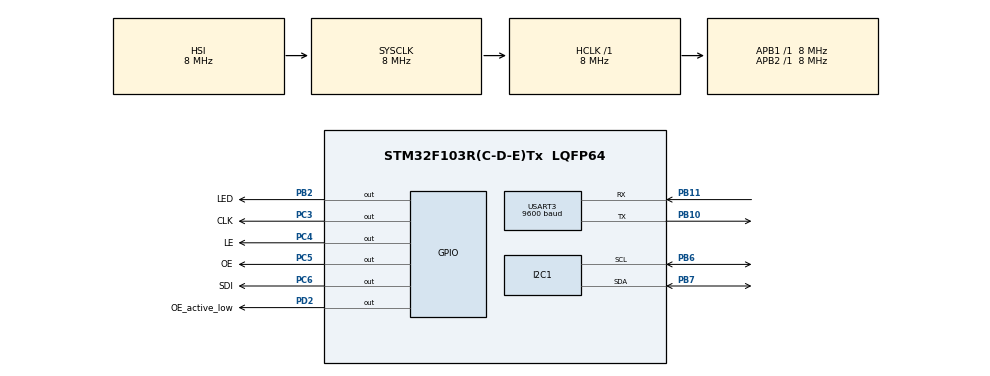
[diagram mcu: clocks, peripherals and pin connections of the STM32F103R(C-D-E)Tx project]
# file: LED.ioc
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Mcu.Family=STM32F1
Mcu.Name=STM32F103R(C-D-E)Tx
Mcu.Package=LQFP64
NVIC.PriorityGroup=NVIC_PRIORITYGROUP_4
NVIC.TIM2_IRQn=true\:0\:0\:false\:false\:true\:true\:true
NVIC.USART3_IRQn=true\:0\:0\:false\:false\:true\:true\:true
PA13.Mode=Serial_Wire
PA13.Signal=SYS_JTMS-SWDIO
PA14.Mode=Serial_Wire
PA14.Signal=SYS_JTCK-SWCLK
PB10.Mode=Asynchronous
PB10.Signal=USART3_TX
PB11.Mode=Asynchronous
PB11.Signal=USART3_RX
PB2.GPIO_Label=LED
PB2.Signal=GPIO_Output
PB6.Mode=I2C
PB6.Signal=I2C1_SCL
PB7.Mode=I2C
PB7.Signal=I2C1_SDA
PC3.GPIO_Label=CLK
PC3.Signal=GPIO_Output
PC4.GPIO_Label=LE
PC4.Signal=GPIO_Output
PC5.GPIO_Label=OE
PC5.Signal=GPIO_Output
PC6.GPIO_Label=SDI
PC6.Signal=GPIO_Output
PD2.GPIO_Label=OE_active_low
PD2.Signal=GPIO_Output
ProjectManager.HeapSize=0x200
ProjectManager.StackSize=0x400
ProjectManager.TargetToolchain=STM32CubeIDE
RCC.AHBFreq_Value=8000000
RCC.APB1Freq_Value=8000000
RCC.APB1TimFreq_Value=8000000
RCC.APB2Freq_Value=8000000
RCC.APB2TimFreq_Value=8000000
RCC.HCLKFreq_Value=8000000
RCC.SYSCLKFreq_VALUE=8000000
RCC.USBFreq_Value=8000000
TIM2.Period=9
TIM2.Prescaler=7999
USART3.BaudRate=9600
USART3.VirtualMode=VM_ASYNC
VP_TIM2_VS_ClockSourceINT.Mode=Internal
board=custom

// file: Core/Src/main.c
/* USER CODE BEGIN Header */
/**
  ******************************************************************************
  * @file           : main.c
  * @brief          : Main program body
  ******************************************************************************
  * @attention
  *
  * <h2><center>&copy; Copyright (c) 2022 STMicroelectronics.
  * All rights reserved.</center></h2>
  *
  * This software component is licensed by ST under BSD 3-Clause license,
  * the "License"; You may not use this file except in compliance with the
  * License. You may obtain a copy of the License at:
  *                        opensource.org/licenses/BSD-3-Clause
  *
  ******************************************************************************
  */
/* USER CODE END Header */
#include "main.h"

/* USER CODE BEGIN Includes */
#include "stdio.h"
#include "string.h"
#include "app_i2c.h"
#include "app_i2c_lcd.h"
#include "FSM_UART.h"
#include "PINS_AND_PORTS.h"
#include "LED_SERIES_PROCESSING.h"
#include "A_SINGLE_LED_DEBUGGING.h"
/* USER CODE END Includes */

I2C_HandleTypeDef hi2c1;

TIM_HandleTypeDef htim2;

UART_HandleTypeDef huart3;

void SystemClock_Config(void);
static void MX_TIM2_Init(void);
static void MX_GPIO_Init(void);
static void MX_I2C1_Init(void);
static void MX_USART3_UART_Init(void);

/* USER CODE BEGIN 0 */
void HAL_UART_RxCpltCallback(UART_HandleTypeDef *huart)
{
	if(huart->Instance == USART3)
	{
		HAL_UART_Transmit(&huart3, data, 1, 200);
		HAL_UART_Receive_IT(&huart3, data, 1);
	}
}
/* USER CODE END 0 */

int main(void)
{

  /* MCU Configuration--------------------------------------------------------*/

  /* Reset of all peripherals, Initializes the Flash interface and the Systick. */
  HAL_Init();

  /* USER CODE BEGIN Init */
  I2C_Init();
  Lcd_Initialization();
  /* USER CODE END Init */

  /* Configure the system clock */
  SystemClock_Config();

  /* Initialize all configured peripherals */
  MX_TIM2_Init();
  MX_GPIO_Init();
  MX_I2C1_Init();
  MX_USART3_UART_Init();
  /* USER CODE BEGIN 2 */

  HAL_GPIO_WritePin(LED_GPIO_Port, LED_PIN, SET);
  Output_Enable();
  turnOffAllLED();
  HAL_UART_Receive_IT(&huart3, data, sizeof(data));
  HAL_TIM_Base_Start_IT(&htim2);

  /* USER CODE END 2 */
  /* Infinite loop */
  /* USER CODE BEGIN WHILE */
  while (1)
  {
	  fsm_communication();
    /* USER CODE END WHILE */
  }
}

void SystemClock_Config(void)
{
  RCC_OscInitTypeDef RCC_OscInitStruct = {0};
  RCC_ClkInitTypeDef RCC_ClkInitStruct = {0};

  /** Initializes the RCC Oscillators according to the specified parameters
  * in the RCC_OscInitTypeDef structure.
  */
  RCC_OscInitStruct.OscillatorType = RCC_OSCILLATORTYPE_HSI;
  RCC_OscInitStruct.HSIState = RCC_HSI_ON;
  RCC_OscInitStruct.HSICalibrationValue = RCC_HSICALIBRATION_DEFAULT;
  RCC_OscInitStruct.PLL.PLLState = RCC_PLL_NONE;
  if (HAL_RCC_OscConfig(&RCC_OscInitStruct) != HAL_OK)
  {
    Error_Handler();
  }
  /** Initializes the CPU, AHB and APB buses clocks
  */
  RCC_ClkInitStruct.ClockType = RCC_CLOCKTYPE_HCLK|RCC_CLOCKTYPE_SYSCLK
                              |RCC_CLOCKTYPE_PCLK1|RCC_CLOCKTYPE_PCLK2;
  RCC_ClkInitStruct.SYSCLKSource = RCC_SYSCLKSOURCE_HSI;
  RCC_ClkInitStruct.AHBCLKDivider = RCC_SYSCLK_DIV1;
  RCC_ClkInitStruct.APB1CLKDivider = RCC_HCLK_DIV1;
  RCC_ClkInitStruct.APB2CLKDivider = RCC_HCLK_DIV1;

  if (HAL_RCC_ClockConfig(&RCC_ClkInitStruct, FLASH_LATENCY_0) != HAL_OK)
  {
    Error_Handler();
  }
}

static void MX_I2C1_Init(void)
{

  hi2c1.Instance = I2C1;
  hi2c1.Init.ClockSpeed = 100000;
  hi2c1.Init.DutyCycle = I2C_DUTYCYCLE_2;
  hi2c1.Init.OwnAddress1 = 0;
  hi2c1.Init.AddressingMode = I2C_ADDRESSINGMODE_7BIT;
  hi2c1.Init.DualAddressMode = I2C_DUALADDRESS_DISABLE;
  hi2c1.Init.OwnAddress2 = 0;
  hi2c1.Init.GeneralCallMode = I2C_GENERALCALL_DISABLE;
  hi2c1.Init.NoStretchMode = I2C_NOSTRETCH_DISABLE;
  if (HAL_I2C_Init(&hi2c1) != HAL_OK)
  {
    Error_Handler();
  }

}

static void MX_TIM2_Init(void)
{

  TIM_ClockConfigTypeDef sClockSourceConfig = {0};
  TIM_MasterConfigTypeDef sMasterConfig = {0};

  htim2.Instance = TIM2;
  htim2.Init.Prescaler = 7999;
  htim2.Init.CounterMode = TIM_COUNTERMODE_UP;
  htim2.Init.Period = 9;
  htim2.Init.ClockDivision = TIM_CLOCKDIVISION_DIV1;
  htim2.Init.AutoReloadPreload = TIM_AUTORELOAD_PRELOAD_DISABLE;
  if (HAL_TIM_Base_Init(&htim2) != HAL_OK)
  {
    Error_Handler();
  }
  sClockSourceConfig.ClockSource = TIM_CLOCKSOURCE_INTERNAL;
  if (HAL_TIM_ConfigClockSource(&htim2, &sClockSourceConfig) != HAL_OK)
  {
    Error_Handler();
  }
  sMasterConfig.MasterOutputTrigger = TIM_TRGO_RESET;
  sMasterConfig.MasterSlaveMode = TIM_MASTERSLAVEMODE_DISABLE;
  if (HAL_TIMEx_MasterConfigSynchronization(&htim2, &sMasterConfig) != HAL_OK)
  {
    Error_Handler();
  }

}

static void MX_USART3_UART_Init(void)
{

  huart3.Instance = USART3;
  huart3.Init.BaudRate = 9600;
  huart3.Init.WordLength = UART_WORDLENGTH_8B;
  huart3.Init.StopBits = UART_STOPBITS_1;
  huart3.Init.Parity = UART_PARITY_NONE;
  huart3.Init.Mode = UART_MODE_TX_RX;
  huart3.Init.HwFlowCtl = UART_HWCONTROL_NONE;
  huart3.Init.OverSampling = UART_OVERSAMPLING_16;
  if (HAL_UART_Init(&huart3) != HAL_OK)
  {
    Error_Handler();
  }

}

static void MX_GPIO_Init(void)
{
  GPIO_InitTypeDef GPIO_InitStruct = {0};

  /* GPIO Ports Clock Enable */
  __HAL_RCC_GPIOC_CLK_ENABLE();
  __HAL_RCC_GPIOB_CLK_ENABLE();
  __HAL_RCC_GPIOA_CLK_ENABLE();
  __HAL_RCC_GPIOD_CLK_ENABLE();

  /*Configure GPIO pin Output Level */
  HAL_GPIO_WritePin(GPIOC, CLK_Pin|LE_Pin|OE_Pin|SDI_Pin, GPIO_PIN_RESET);

  /*Configure GPIO pin Output Level */
  HAL_GPIO_WritePin(LED_GPIO_Port, LED_Pin, GPIO_PIN_RESET);

  /*Configure GPIO pin Output Level */
  HAL_GPIO_WritePin(OE_active_low_GPIO_Port, OE_active_low_Pin, GPIO_PIN_RESET);

  /*Configure GPIO pins : CLK_Pin LE_Pin OE_Pin SDI_Pin */
  GPIO_InitStruct.Pin = CLK_Pin|LE_Pin|OE_Pin|SDI_Pin;
  GPIO_InitStruct.Mode = GPIO_MODE_OUTPUT_PP;
  GPIO_InitStruct.Pull = GPIO_NOPULL;
  GPIO_InitStruct.Speed = GPIO_SPEED_FREQ_LOW;
  HAL_GPIO_Init(GPIOC, &GPIO_InitStruct);

  /*Configure GPIO pin : LED_Pin */
  GPIO_InitStruct.Pin = LED_Pin;
  GPIO_InitStruct.Mode = GPIO_MODE_OUTPUT_PP;
  GPIO_InitStruct.Pull = GPIO_NOPULL;
  GPIO_InitStruct.Speed = GPIO_SPEED_FREQ_LOW;
  HAL_GPIO_Init(LED_GPIO_Port, &GPIO_InitStruct);

  /*Configure GPIO pin : OE_active_low_Pin */
  GPIO_InitStruct.Pin = OE_active_low_Pin;
  GPIO_InitStruct.Mode = GPIO_MODE_OUTPUT_PP;
  GPIO_InitStruct.Pull = GPIO_NOPULL;
  GPIO_InitStruct.Speed = GPIO_SPEED_FREQ_LOW;
  HAL_GPIO_Init(OE_active_low_GPIO_Port, &GPIO_InitStruct);

}

void HAL_TIM_PeriodElapsedCallback(TIM_HandleTypeDef *htim)
{
	if (string_flag == NORMAL)
	{
		interruptServiceForDisplayLEDsSeries();
	}
	else if (string_flag == ADJUST_GREEN)
	{
		interruptServiceForDisplayGREENLEDsSeries();
	}
	else if (string_flag == ADJUST_YELLOW)
	{
		interruptServiceForDisplayYELLOWLEDsSeries();
	}
	interruptServiceForDisplaySingleLED();
}
/* USER CODE END 4 */

void Error_Handler(void)
{
  __disable_irq();
  while (1)
  {
  }
}

/************************ (C) COPYRIGHT STMicroelectronics *****END OF FILE****/
